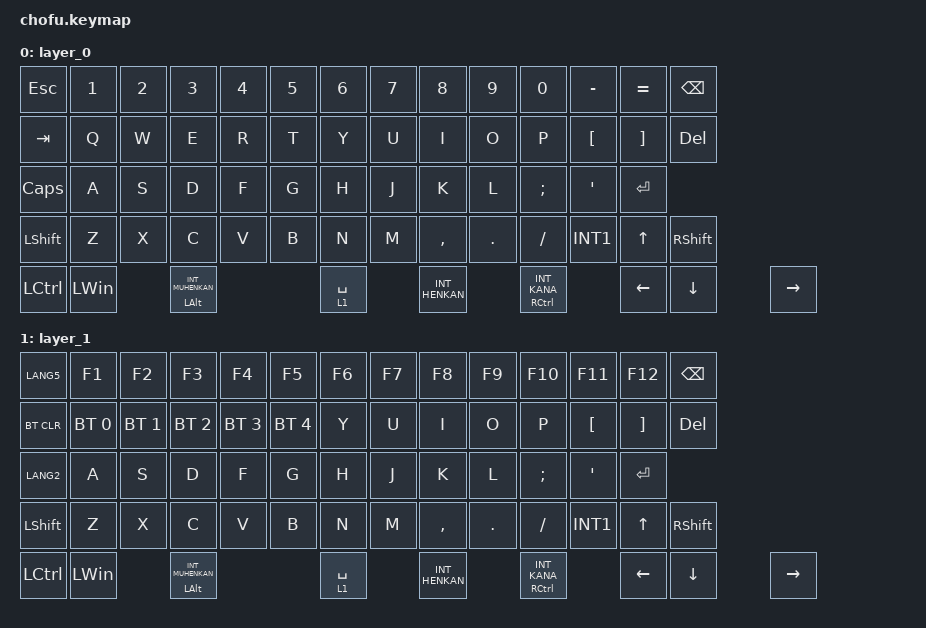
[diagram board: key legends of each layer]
#include <behaviors.dtsi>
#include <dt-bindings/zmk/keys.h>
#include <dt-bindings/zmk/bt.h>

/ {
    keymap {
        compatible = "zmk,keymap";

        layer_0 {
            bindings = <
                &kp ESC   &kp N1 &kp N2 &kp N3 &kp N4 &kp N5 &kp N6 &kp N7 &kp N8 &kp N9 &kp N0 &kp MINUS &kp EQUAL &kp BSPC
                &kp TAB   &kp Q  &kp W  &kp E  &kp R  &kp T  &kp Y  &kp U  &kp I  &kp O  &kp P  &kp LBKT &kp RBKT &kp DEL
                &kp CAPS  &kp A  &kp S  &kp D  &kp F  &kp G  &kp H  &kp J  &kp K  &kp L  &kp SEMI &kp SQT  &kp ENTER
                &kp LSHFT &kp Z  &kp X  &kp C  &kp V  &kp B  &kp N  &kp M  &kp COMMA &kp DOT &kp FSLH &kp INT1 &kp UP &kp RSHFT
                &kp LCTRL  &kp LWIN  &mt LALT INT_MUHENKAN  &lt 1 SPACE  &kp INT_HENKAN  &mt RCTRL INT_KANA  &kp LEFT  &kp DOWN  &kp RIGHT
            >;
        };

        layer_1 {
            bindings = <
                &kp LANG5  &kp F1 &kp F2 &kp F3 &kp F4 &kp F5 &kp F6 &kp F7 &kp F8 &kp F9 &kp F10 &kp F11 &kp F12 &kp BSPC
                &bt BT_CLR &bt BT_SEL 0  &bt BT_SEL 1  &bt BT_SEL 2  &bt BT_SEL 3  &bt BT_SEL 4  &kp Y &kp U  &kp I  &kp O  &kp P  &kp LBKT &kp RBKT &kp DEL
                &kp LANG2 &kp A  &kp S  &kp D  &kp F  &kp G  &kp H  &kp J  &kp K  &kp L  &kp SEMI &kp SQT  &kp ENTER
                &kp LSHFT &kp Z  &kp X  &kp C  &kp V  &kp B  &kp N  &kp M  &kp COMMA &kp DOT &kp FSLH &kp INT1 &kp UP &kp RSHFT
                &kp LCTRL  &kp LWIN  &mt LALT INT_MUHENKAN  &lt 1 SPACE  &kp INT_HENKAN  &mt RCTRL INT_KANA  &kp LEFT  &kp DOWN  &kp RIGHT
            >;
        };
    };
};
